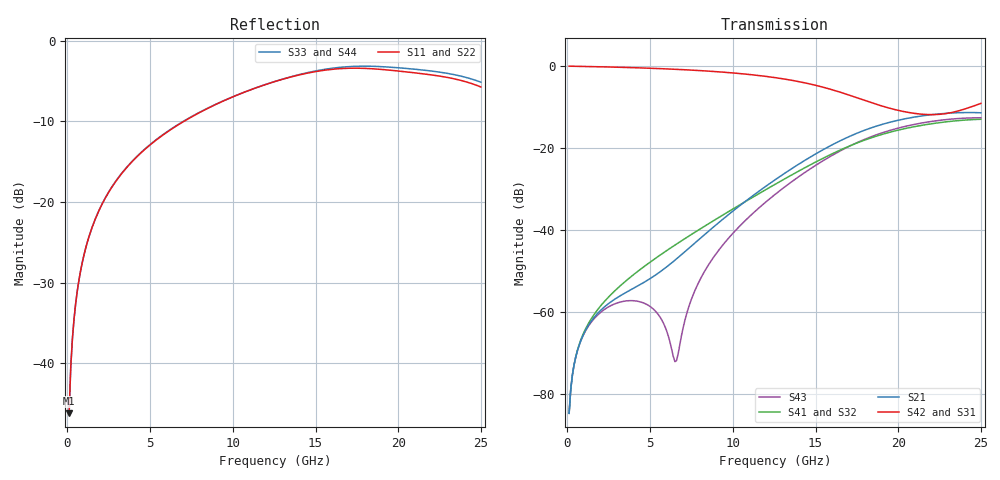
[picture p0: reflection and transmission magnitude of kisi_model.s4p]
! kisi E_s8_L1L3_p1200_round_g2: fast channel model (formula impedances, via model), up to 25 GHz
# Hz S RI R 50
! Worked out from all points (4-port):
!   250 points, 100 MHz to 25 GHz, reference 50 ohm
!   strongest paths, dB at 100 MHz, 6.3 GHz, 12.6 GHz, 18.8 GHz, 25 GHz:
!     S42: 0.0, -0.7, -2.8, -9.5, -9.1
!     S31: 0.0, -0.7, -2.8, -9.5, -9.1
!     S21: -84.7, -48.0, -27.6, -14.5, -11.4
!     S41: -84.7, -44.2, -28.7, -16.9, -13.0
!     S32: -84.7, -44.2, -28.7, -16.9, -13.0
!     S43: -84.7, -69.1, -31.2, -16.6, -12.6
!   lowest |S11| = -46.2 dB at 100 MHz (marker M1), VSWR 1.01, Z = 50.1 - j0.48 ohm
!   |S11| at or under -10 dB: start of sweep to 7.039 GHz
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1e8  0.00112 -0.00479  2.63e-06 5.81e-05  0.9972 -0.0381  -3.27e-06 -5.8e-05
     2.63e-06 5.81e-05  0.00112 -0.00479  -3.27e-06 -5.8e-05  0.9972 -0.0381
     0.9972 -0.0381  -3.27e-06 -5.8e-05  0.00111 -0.00478  3.91e-06 5.8e-05
     -3.27e-06 -5.8e-05  0.9972 -0.0381  3.91e-06 5.8e-05  0.00111 -0.00478
4.1e9  -0.1856 -0.0182  0.0014 0.00143  0.0724 -0.9524  -0.00297 -7.51e-05
       0.0014 0.00143  -0.1856 -0.0182  -0.00297 -7.51e-05  0.0724 -0.9524
       0.0724 -0.9524  -0.00297 -7.51e-05  -0.1874 -0.000781  0.00132 -0.000348
       -0.00297 -7.51e-05  0.0724 -0.9524  0.00132 -0.000348  -0.1874 -0.000781
6.5e9  -0.2164 0.1966  0.00348 0.00251  -0.6515 -0.6421  -0.00358 0.00549
       0.00348 0.00251  -0.2164 0.1966  -0.00358 0.00549  -0.6515 -0.6421
       -0.6515 -0.6421  -0.00358 0.00549  -0.182 0.2307  0.000247 -1.83e-05
       -0.00358 0.00549  -0.6515 -0.6421  0.000247 -1.83e-05  -0.182 0.2307
8.1e9  -0.1001 0.3494  0.00768 0.00271  -0.8625 -0.1716  0.00159 0.0104
       0.00768 0.00271  -0.1001 0.3494  0.00159 0.0104  -0.8625 -0.1716
       -0.8625 -0.1716  0.00159 0.0104  -0.0218 0.3643  0.00178 0.00199
       0.00159 0.0104  -0.8625 -0.1716  0.00178 0.00199  -0.0218 0.3643
1.23e10  0.5133 0.1926  0.0181 -0.0332  -0.1622 0.7173  0.0265 -0.0209
         0.0181 -0.0332  0.5133 0.1926  0.0265 -0.0209  -0.1622 0.7173
         -0.1622 0.7173  0.0265 -0.0209  0.5488 -0.0051  0.011 -0.0222
         0.0265 -0.0209  -0.1622 0.7173  0.011 -0.0222  0.5488 -0.0051
1.74e10  -0.0173 -0.675  -0.1357 0.0607  0.4176 0.0138  -0.0993 0.0542
         -0.1357 0.0607  -0.0173 -0.675  -0.0993 0.0542  0.4176 0.0138
         0.4176 0.0138  -0.0993 0.0542  -0.3688 -0.5872  -0.0745 0.0861
         -0.0993 0.0542  0.4176 0.0138  -0.0745 0.0861  -0.3688 -0.5872
2.5e10  -0.1065 0.5052  -0.00805 -0.2694  0.114 -0.3316  -0.1277 -0.1847
        -0.00805 -0.2694  -0.1065 0.5052  -0.1277 -0.1847  0.114 -0.3316
        0.114 -0.3316  -0.1277 -0.1847  0.276 0.4793  -0.1822 -0.1473
        -0.1277 -0.1847  0.114 -0.3316  -0.1822 -0.1473  0.276 0.4793
